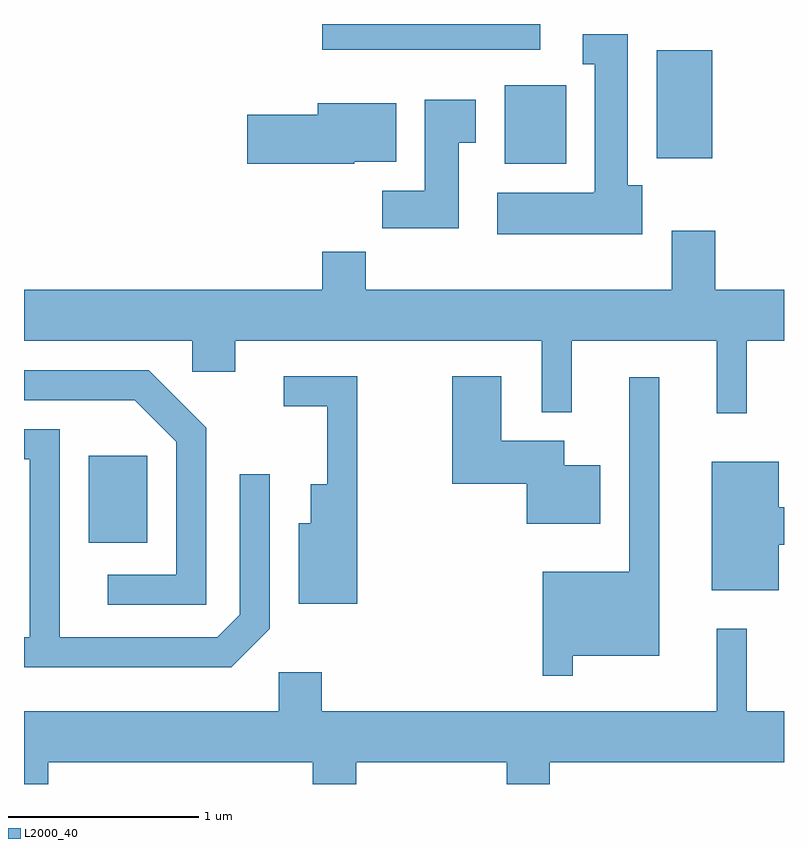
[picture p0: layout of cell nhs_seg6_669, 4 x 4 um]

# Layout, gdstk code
import gdstk
lib = gdstk.Library(unit=1e-6, precision=1e-09)
def R(c, l, rs):  # rectangles x0, y0, x1, y1
    for r in rs: c.add(gdstk.rectangle(r[:2], r[2:], *l))
def P(c, l, *ps):  # polygons
    for p in ps: c.add(gdstk.Polygon(p, *l))
L2000_40 = (2000, 40)

nhs_seg6_669 = lib.new_cell('nhs_seg6_669')
R(nhs_seg6_669, L2000_40, [(205.951,1533.431,206.259,1533.889), (208.141,1535.426,208.464,1535.839), (208.941,1535.456,209.234,1536.024), (207.181,1536.026,208.329,1536.162)])
P(nhs_seg6_669, L2000_40, [(208.864,1535.314),(208.789,1535.314),(208.789,1536.109),(208.553,1536.109),(208.553,1535.951),(208.616,1535.951),(208.616,1535.28),(208.61,1535.28),(208.61,1535.274),(208.101,1535.274),(208.101,1535.056),(208.864,1535.056)],
  [(207.899,1535.536),(207.989,1535.536),(207.989,1535.764),(207.721,1535.764),(207.721,1535.284),(207.496,1535.284),(207.496,1535.086),(207.899,1535.086)],
  [(207.35,1535.436),(207.569,1535.436),(207.569,1535.744),(207.156,1535.744),(207.156,1535.684),(206.786,1535.684),(206.786,1535.426),(207.35,1535.426)],
  [(209.414,1534.496),(209.611,1534.496),(209.611,1534.764),(209.249,1534.764),(209.249,1535.074),(209.021,1535.074),(209.021,1534.764),(207.409,1534.764),(207.409,1534.964),(207.181,1534.964),(207.181,1534.764),(205.611,1534.764),(205.611,1534.496),(206.496,1534.496),(206.496,1534.331),(206.724,1534.331),(206.724,1534.496),(208.336,1534.496),(208.336,1534.118),(208.494,1534.118),(208.494,1534.496),(209.256,1534.496),(209.256,1534.113),(209.414,1534.113)],
  [(206.569,1534.037),(206.267,1534.339),(205.611,1534.339),(205.611,1534.181),(206.194,1534.181),(206.411,1533.964),(206.411,1533.264),(206.053,1533.264),(206.053,1533.106),(206.569,1533.106)],
  [(208.644,1533.839),(208.454,1533.839),(208.454,1533.969),(208.124,1533.969),(208.124,1534.309),(207.866,1534.309),(207.866,1533.741),(208.256,1533.741),(208.256,1533.531),(208.644,1533.531)],
  [(207.364,1534.309),(206.978,1534.309),(206.978,1534.151),(207.206,1534.151),(207.206,1533.739),(207.121,1533.739),(207.121,1533.534),(207.056,1533.534),(207.056,1533.111),(207.364,1533.111)],
  [(208.499,1532.836),(208.954,1532.836),(208.954,1534.303),(208.796,1534.303),(208.796,1533.279),(208.341,1533.279),(208.341,1532.733),(208.499,1532.733)],
  [(206.904,1532.979),(206.904,1533.793),(206.746,1533.793),(206.746,1533.052),(206.629,1532.934),(205.799,1532.934),(205.799,1534.029),(205.611,1534.029),(205.611,1533.871),(205.641,1533.871),(205.641,1532.934),(205.611,1532.934),(205.611,1532.776),(206.702,1532.776)],
  [(209.584,1533.421),(209.611,1533.421),(209.611,1533.619),(209.584,1533.619),(209.584,1533.859),(209.231,1533.859),(209.231,1533.181),(209.584,1533.181)],
  [(209.256,1532.978),(209.256,1532.544),(207.179,1532.544),(207.179,1532.749),(206.951,1532.749),(206.951,1532.544),(205.611,1532.544),(205.611,1532.162),(205.739,1532.162),(205.739,1532.276),(207.131,1532.276),(207.131,1532.162),(207.359,1532.162),(207.359,1532.276),(208.151,1532.276),(208.151,1532.162),(208.379,1532.162),(208.379,1532.276),(209.611,1532.276),(209.611,1532.544),(209.414,1532.544),(209.414,1532.978)])

lib.write_gds('nhs_seg6_669.gds')
